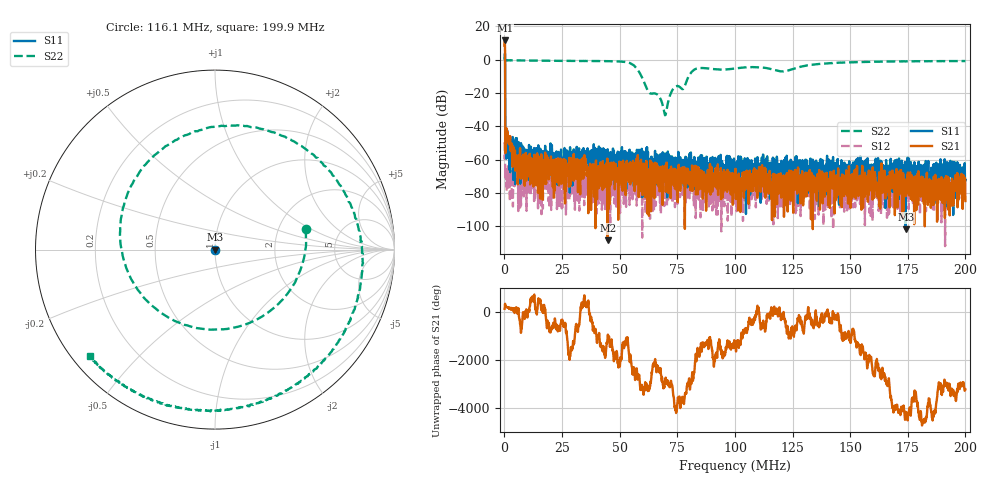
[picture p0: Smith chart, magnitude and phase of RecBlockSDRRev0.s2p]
! 19-Feb-26 2:06:08 PM
! E:\VNA_MEASUREMENTS\RECBLOCK\RECBLOCKSDRREV0.S2P
! CHANNEL.1
! TR.MEASUREMENT
! CORRECTED.DATA
# GHZ S RI R 50.0
! FREQ.GHZ  S11RE  S11IM  S21RE  S21IM  S12RE  S12IM  S22RE  S22IM
!; PortSelection: Port_12
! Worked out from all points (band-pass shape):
!   2000 points, 50 kHz to 200 MHz, reference 50 ohm
!   highest |S21| = 11.61 dB at 150 kHz (marker M1); lowest = -108.5 dB at 44.76 MHz (marker M2)
!   |S21| within 3 dB of the highest: 52.68 kHz to 194.1 kHz (141.4 kHz wide, 115 % of centre)
!   lowest |S11| = -101.8 dB at 174.1 MHz (marker M3), VSWR 1.00, Z = 50 + j0.00077 ohm
!   |S11| at or under -10 dB: 278.9 kHz to end of sweep
!   |S22| runs from -33.3 to -0.2 dB; largest |S21 - S12| = 3.8
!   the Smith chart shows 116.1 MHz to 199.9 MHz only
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5e-05  -0.7524 0.8125  -2.195 1.52  0.000182 0.00338  -0.9392 -0.00263
0.000150025  0.0443 1.504  -3.596 -1.254  0.00103 -0.000176  -0.9622 0.0133
0.00145035  0.00279 -0.00201  -0.00429 -0.00199  0.000211 0.000336  -0.9602 0.0847
0.005651401  0.00172 -0.00149  -0.000238 0.000873  -0.000385 -0.000181  -0.9047 0.3173
0.03345835  0.0012 0.00056  0.000342 -9.7e-06  -0.000275 5.12e-05  0.55 0.7372
0.04476118  -0.00204 0.000282  3.4e-06 -1.6e-06  -9.66e-05 0.000101  0.8793 -0.2316
0.05606401  0.000242 0.000895  -0.000499 0.000104  -6.49e-05 9.63e-05  -0.5891 -0.3481
0.06676668  -0.000423 -0.000233  -0.000299 -9.75e-05  4.41e-05 -7.49e-05  -0.0149 -0.084
0.06986746  0.000285 -0.00105  0.000422 4.7e-05  0.000191 -6.67e-05  0.00683 -0.021
0.08127031  -0.000415 -0.000434  8.5e-05 0.000316  -3.98e-05 -0.000172  -0.2534 -0.3561
0.08917229  -1.88e-05 -0.000726  0.000588 0.000447  -0.000143 0.00013  0.0137 0.5409
0.09437359  -0.000294 -0.000852  -0.000243 0.000303  0.000114 -7.75e-05  0.5096 -0.0442
0.100075  -0.000648 2.68e-05  -7.39e-05 0.000178  -0.000158 -5.36e-05  -0.1321 -0.532
0.1103776  0.000117 0.000267  0.000236 0.000107  7.9e-05 -0.000177  -0.1645 0.5697
0.116079  -0.0007 -0.00029  -1.52e-05 2.1e-06  4.45e-05 0.000186  0.5042 0.1124
0.1207802  -7.27e-05 -0.000442  -3.3e-06 0.000112  6.75e-05 0.000211  -0.0258 -0.4461
0.1257814  -0.000204 -0.000362  -0.000379 -0.000228  -7.83e-05 -2.88e-05  -0.5257 0.1559
0.1333833  6.3e-06 5.09e-05  4.41e-05 -0.000375  -5.7e-05 -8.36e-05  0.1786 0.6886
0.1460865  -0.000244 -0.000417  0.000125 -4.32e-05  -9.57e-05 -8.94e-05  0.8195 -0.0363
0.1666917  9.71e-05 -0.00031  0.000216 -0.000219  3.28e-05 0.000101  0.2542 -0.847
0.1740935  -2.7e-06 7.7e-06  1.59e-05 -0.000136  -5.5e-05 -2.91e-05  -0.0243 -0.8959
0.2  -0.000245 6.8e-06  5.72e-05 5.8e-06  -0.000206 -3.61e-05  -0.6965 -0.5929
